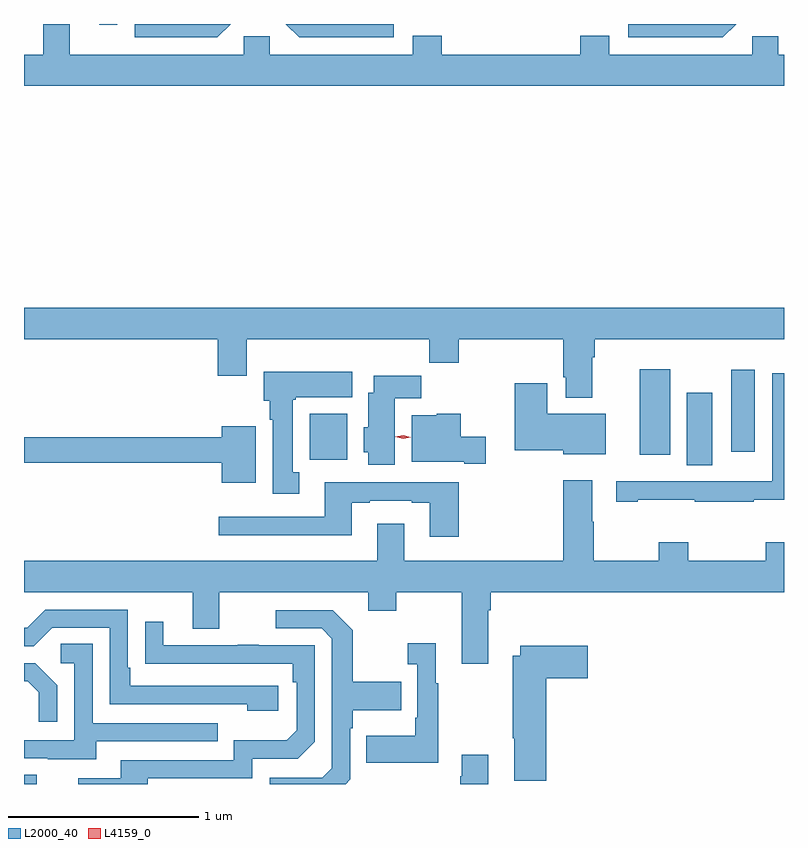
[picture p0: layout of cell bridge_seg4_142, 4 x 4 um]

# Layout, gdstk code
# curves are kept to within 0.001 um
import gdstk
lib = gdstk.Library(unit=1e-6, precision=1e-09)
def R(c, l, rs):  # rectangles x0, y0, x1, y1
    for r in rs: c.add(gdstk.rectangle(r[:2], r[2:], *l))
def P(c, l, *ps):  # polygons
    for p in ps: c.add(gdstk.Polygon(p, *l))
L2000_40 = (2000, 40)
L4159_0 = (4159, 0)

bridge_seg4_142 = lib.new_cell('bridge_seg4_142')
R(bridge_seg4_142, L2000_40, [(121.901,782.49,121.969,782.54), (125.39,784.168,125.524,784.549), (123.404,784.196,123.601,784.438), (125.141,784.224,125.302,784.672), (125.624,784.239,125.746,784.669), (122.297,786.486,122.393,786.49)])
P(bridge_seg4_142, L2000_40, [(125.65,786.49),(125.082,786.49),(125.082,786.419),(125.579,786.419)],
  [(125.901,786.328),(125.871,786.328),(125.871,786.426),(125.733,786.426),(125.733,786.328),(124.981,786.328),(124.981,786.427),(124.829,786.427),(124.829,786.328),(124.1,786.328),(124.1,786.427),(123.947,786.427),(123.947,786.328),(123.195,786.328),(123.195,786.426),(123.057,786.426),(123.057,786.328),(122.143,786.328),(122.143,786.49),(122.003,786.49),(122.003,786.328),(121.901,786.328),(121.901,786.164),(125.901,786.164)],
  [(123.846,786.49),(123.278,786.49),(123.349,786.419),(123.846,786.419)],
  [(122.989,786.49),(122.484,786.49),(122.484,786.42),(122.919,786.42)],
  [(124.891,784.736),(124.904,784.736),(124.904,784.832),(125.901,784.832),(125.901,784.996),(121.901,784.996),(121.901,784.832),(122.921,784.832),(122.921,784.638),(123.073,784.638),(123.073,784.832),(124.033,784.832),(124.033,784.708),(124.19,784.708),(124.19,784.832),(124.739,784.832),(124.739,784.63),(124.751,784.63),(124.751,784.523),(124.891,784.523)],
  [(123.349,784.13),(123.316,784.13),(123.316,784.513),(123.33,784.513),(123.33,784.526),(123.628,784.526),(123.628,784.66),(123.164,784.66),(123.164,784.506),(123.194,784.506),(123.194,784.406),(123.209,784.406),(123.209,784.017),(123.349,784.017)],
  [(125.131,783.985),(125.431,783.985),(125.431,783.975),(125.741,783.975),(125.741,783.985),(125.901,783.985),(125.901,784.651),(125.838,784.651),(125.838,784.084),(125.628,784.084),(125.628,784.083),(125.294,784.083),(125.294,784.084),(125.019,784.084),(125.019,783.975),(125.131,783.975)],
  [(123.853,784.52),(123.992,784.52),(123.992,784.639),(123.743,784.639),(123.743,784.549),(123.713,784.549),(123.713,784.368),(123.689,784.368),(123.689,784.236),(123.713,784.236),(123.713,784.169),(123.853,784.169)],
  [(124.963,784.438),(124.654,784.438),(124.654,784.6),(124.484,784.6),(124.484,784.247),(124.74,784.247),(124.74,784.226),(124.963,784.226)],
  [(124.33,784.317),(124.2,784.317),(124.2,784.438),(124.074,784.438),(124.074,784.432),(123.941,784.432),(123.941,784.187),(124.217,784.187),(124.217,784.175),(124.33,784.175)],
  [(123.121,784.372),(122.942,784.372),(122.942,784.316),(121.901,784.316),(121.901,784.18),(122.942,784.18),(122.942,784.076),(123.121,784.076)],
  [(124.345,783.404),(124.358,783.404),(124.358,783.5),(125.901,783.5),(125.901,783.763),(125.806,783.763),(125.806,783.664),(125.397,783.664),(125.397,783.763),(125.242,783.763),(125.242,783.664),(124.899,783.664),(124.899,783.869),(124.891,783.869),(124.891,784.09),(124.739,784.09),(124.739,783.664),(123.901,783.664),(123.901,783.859),(123.761,783.859),(123.761,783.664),(121.901,783.664),(121.901,783.5),(122.789,783.5),(122.789,783.306),(122.929,783.306),(122.929,783.5),(123.713,783.5),(123.713,783.401),(123.861,783.401),(123.861,783.5),(124.205,783.5),(124.205,783.123),(124.345,783.123)],
  [(124.19,784.077),(123.485,784.077),(123.485,783.897),(122.925,783.897),(122.925,783.8),(123.625,783.8),(123.625,783.969),(123.721,783.969),(123.721,783.981),(123.941,783.981),(123.941,783.969),(124.037,783.969),(124.037,783.792),(124.19,783.792)],
  [(123.238,783.006),(122.461,783.006),(122.461,783.103),(122.448,783.103),(122.448,783.408),(122.013,783.408),(121.917,783.312),(121.901,783.312),(121.901,783.216),(121.953,783.216),(122.049,783.312),(122.352,783.312),(122.352,782.91),(123.077,782.91),(123.077,782.876),(123.238,782.876)],
  [(123.618,782.514),(123.618,782.783),(123.631,782.783),(123.631,782.879),(123.887,782.879),(123.887,783.027),(123.631,783.027),(123.631,783.299),(123.525,783.405),(123.225,783.405),(123.225,783.309),(123.468,783.309),(123.522,783.255),(123.522,782.574),(123.471,782.523),(123.195,782.523),(123.195,782.49),(123.594,782.49)],
  [(122.551,782.52),(123.102,782.52),(123.102,782.622),(123.342,782.622),(123.432,782.712),(123.432,783.219),(123.137,783.219),(123.137,783.224),(123.025,783.224),(123.025,783.219),(122.635,783.219),(122.635,783.343),(122.539,783.343),(122.539,783.124),(123.316,783.123),(123.316,783.026),(123.336,783.026),(123.336,782.772),(123.283,782.719),(123.006,782.719),(123.006,782.616),(122.411,782.616),(122.411,782.52),(122.187,782.52),(122.187,782.49),(122.551,782.49)],
  [(124.081,783.019),(124.069,783.019),(124.069,783.232),(123.921,783.232),(123.921,783.119),(123.972,783.119),(123.972,782.839),(123.96,782.839),(123.96,782.743),(123.703,782.743),(123.703,782.603),(124.081,782.603)],
  [(122.281,782.715),(122.921,782.715),(122.921,782.811),(122.262,782.811),(122.262,783.227),(122.094,783.227),(122.094,783.126),(122.166,783.126),(122.166,782.721),(121.901,782.721),(121.901,782.625),(122.027,782.625),(122.027,782.621),(122.281,782.621)],
  [(124.649,783.047),(124.867,783.047),(124.867,783.217),(124.514,783.217),(124.514,783.166),(124.474,783.166),(124.474,782.731),(124.481,782.731),(124.481,782.508),(124.649,782.508)],
  [(122.076,783.01),(121.96,783.126),(121.901,783.126),(121.901,783.03),(121.922,783.03),(121.979,782.973),(121.979,782.817),(122.076,782.817)],
  [(124.345,782.644),(124.205,782.644),(124.205,782.531),(124.198,782.531),(124.198,782.49),(124.345,782.49)])
P(bridge_seg4_142, L4159_0, [(123.896,784.306),(123.856,784.317),(123.856,784.317),(123.856,784.317),(123.896,784.326),(123.936,784.316),(123.936,784.316),(123.936,784.316)])

lib.write_gds('bridge_seg4_142.gds')
